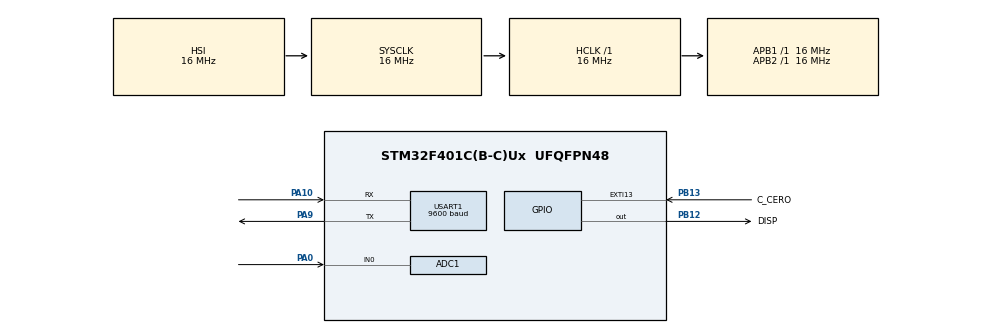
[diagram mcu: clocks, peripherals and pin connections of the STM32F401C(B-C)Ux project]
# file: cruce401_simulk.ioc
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ADC1.Channel-0\#ChannelRegularConversion=ADC_CHANNEL_0
ADC1.NbrOfConversionFlag=1
ADC1.Rank-0\#ChannelRegularConversion=1
ADC1.SamplingTime-0\#ChannelRegularConversion=ADC_SAMPLETIME_3CYCLES
ADC1.master=1
Mcu.Family=STM32F4
Mcu.Name=STM32F401C(B-C)Ux
Mcu.Package=UFQFPN48
NVIC.EXTI15_10_IRQn=true\:0\:0\:false\:false\:true\:true\:true\:true
NVIC.PriorityGroup=NVIC_PRIORITYGROUP_4
NVIC.TIM5_IRQn=true\:0\:0\:false\:false\:true\:true\:true\:true
PA0-WKUP.Signal=ADCx_IN0
PA10.Mode=Asynchronous
PA10.Signal=USART1_RX
PA9.Mode=Asynchronous
PA9.Signal=USART1_TX
PB12.GPIO_Label=DISP
PB12.Signal=GPIO_Output
PB13.GPIO_Label=C_CERO
PB13.Signal=GPXTI13
ProjectManager.HeapSize=0x200
ProjectManager.StackSize=0x400
ProjectManager.TargetToolchain=STM32CubeIDE
RCC.AHBFreq_Value=16000000
RCC.APB1Freq_Value=16000000
RCC.APB2Freq_Value=16000000
RCC.CortexFreq_Value=16000000
RCC.HSE_VALUE=25000000
RCC.HSI_VALUE=16000000
RCC.LSE_VALUE=32768
RCC.SYSCLKFreq_VALUE=16000000
RCC.VCOOutputFreq_Value=192000000
SH.ADCx_IN0.0=ADC1_IN0,IN0
TIM5.Period=10000
TIM5.Prescaler=16-1
USART1.BaudRate=9600
USART1.VirtualMode=VM_ASYNC
VP_TIM5_VS_ClockSourceINT.Mode=Internal
board=custom

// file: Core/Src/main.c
/* USER CODE BEGIN Header */
/**
  ******************************************************************************
  * @file           : main.c
  * @brief          : Main program body
  ******************************************************************************
  * @attention
  *
  * Copyright (c) 2025 STMicroelectronics.
  * All rights reserved.
  *
  * This software is licensed under terms that can be found in the LICENSE file
  * in the root directory of this software component.
  * If no LICENSE file comes with this software, it is provided AS-IS.
  *
  ******************************************************************************
  */
/* USER CODE END Header */
#include "main.h"

/* USER CODE BEGIN Includes */
#include "pinout1.h"
#include "uart.h"
#include "delays.h"
#include "adc.h"
#include "MAP_.h"
#include "CRUCE_CERO.h"

#include "stdio.h"
#include "stdint.h"
#include "string.h"
#include "stdlib.h"
/* USER CODE END Includes */

ADC_HandleTypeDef hadc1;

TIM_HandleTypeDef htim5;

UART_HandleTypeDef huart1;

/* USER CODE BEGIN PV */
char texto[100];
uint16_t codigo;
float tiempo;

/* USER CODE END PV */

void SystemClock_Config(void);
static void MX_GPIO_Init(void);
static void MX_ADC1_Init(void);
static void MX_TIM5_Init(void);
static void MX_USART1_UART_Init(void);

int main(void)
{

  /* MCU Configuration--------------------------------------------------------*/

  /* Reset of all peripherals, Initializes the Flash interface and the Systick. */
  HAL_Init();

  /* Configure the system clock */
  SystemClock_Config();

  /* Initialize all configured peripherals */
  MX_GPIO_Init();
  MX_ADC1_Init();
  MX_TIM5_Init();
  MX_USART1_UART_Init();
  /* USER CODE BEGIN 2 */

  cruce_init();
  /* USER CODE END 2 */

  /* Infinite loop */
  /* USER CODE BEGIN WHILE */
  while (1)
  {

	  codigo=ADC_Read();
	  tiempo=map(codigo,0,4095,LIM_SUP, LIM_INF);
	  	  sprintf(texto,"VALOR=%u\r\n",codigo);
	  uartx_write_text(&huart1, texto);

	  sprintf(texto,"float=%.1f\r\n\r\n\r\n",tiempo);
 	  uartx_write_text(&huart1, texto);

	  Cruce_set(&tiempo);
	  HAL_Delay(500);

    /* USER CODE END WHILE */

  }
}

void SystemClock_Config(void)
{
  RCC_OscInitTypeDef RCC_OscInitStruct = {0};
  RCC_ClkInitTypeDef RCC_ClkInitStruct = {0};

  /** Configure the main internal regulator output voltage
  */
  __HAL_RCC_PWR_CLK_ENABLE();
  __HAL_PWR_VOLTAGESCALING_CONFIG(PWR_REGULATOR_VOLTAGE_SCALE2);

  /** Initializes the RCC Oscillators according to the specified parameters
  * in the RCC_OscInitTypeDef structure.
  */
  RCC_OscInitStruct.OscillatorType = RCC_OSCILLATORTYPE_HSI;
  RCC_OscInitStruct.HSIState = RCC_HSI_ON;
  RCC_OscInitStruct.HSICalibrationValue = RCC_HSICALIBRATION_DEFAULT;
  RCC_OscInitStruct.PLL.PLLState = RCC_PLL_NONE;
  if (HAL_RCC_OscConfig(&RCC_OscInitStruct) != HAL_OK)
  {
    Error_Handler();
  }

  /** Initializes the CPU, AHB and APB buses clocks
  */
  RCC_ClkInitStruct.ClockType = RCC_CLOCKTYPE_HCLK|RCC_CLOCKTYPE_SYSCLK
                              |RCC_CLOCKTYPE_PCLK1|RCC_CLOCKTYPE_PCLK2;
  RCC_ClkInitStruct.SYSCLKSource = RCC_SYSCLKSOURCE_HSI;
  RCC_ClkInitStruct.AHBCLKDivider = RCC_SYSCLK_DIV1;
  RCC_ClkInitStruct.APB1CLKDivider = RCC_HCLK_DIV1;
  RCC_ClkInitStruct.APB2CLKDivider = RCC_HCLK_DIV1;

  if (HAL_RCC_ClockConfig(&RCC_ClkInitStruct, FLASH_LATENCY_0) != HAL_OK)
  {
    Error_Handler();
  }
}

static void MX_ADC1_Init(void)
{

  ADC_ChannelConfTypeDef sConfig = {0};

  /** Configure the global features of the ADC (Clock, Resolution, Data Alignment and number of conversion)
  */
  hadc1.Instance = ADC1;
  hadc1.Init.ClockPrescaler = ADC_CLOCK_SYNC_PCLK_DIV2;
  hadc1.Init.Resolution = ADC_RESOLUTION_12B;
  hadc1.Init.ScanConvMode = DISABLE;
  hadc1.Init.ContinuousConvMode = DISABLE;
  hadc1.Init.DiscontinuousConvMode = DISABLE;
  hadc1.Init.ExternalTrigConvEdge = ADC_EXTERNALTRIGCONVEDGE_NONE;
  hadc1.Init.ExternalTrigConv = ADC_SOFTWARE_START;
  hadc1.Init.DataAlign = ADC_DATAALIGN_RIGHT;
  hadc1.Init.NbrOfConversion = 1;
  hadc1.Init.DMAContinuousRequests = DISABLE;
  hadc1.Init.EOCSelection = ADC_EOC_SINGLE_CONV;
  if (HAL_ADC_Init(&hadc1) != HAL_OK)
  {
    Error_Handler();
  }

  /** Configure for the selected ADC regular channel its corresponding rank in the sequencer and its sample time.
  */
  sConfig.Channel = ADC_CHANNEL_0;
  sConfig.Rank = 1;
  sConfig.SamplingTime = ADC_SAMPLETIME_3CYCLES;
  if (HAL_ADC_ConfigChannel(&hadc1, &sConfig) != HAL_OK)
  {
    Error_Handler();
  }

}

static void MX_TIM5_Init(void)
{

  TIM_ClockConfigTypeDef sClockSourceConfig = {0};
  TIM_MasterConfigTypeDef sMasterConfig = {0};

  htim5.Instance = TIM5;
  htim5.Init.Prescaler = 16-1;
  htim5.Init.CounterMode = TIM_COUNTERMODE_UP;
  htim5.Init.Period = 10000;
  htim5.Init.ClockDivision = TIM_CLOCKDIVISION_DIV1;
  htim5.Init.AutoReloadPreload = TIM_AUTORELOAD_PRELOAD_DISABLE;
  if (HAL_TIM_Base_Init(&htim5) != HAL_OK)
  {
    Error_Handler();
  }
  sClockSourceConfig.ClockSource = TIM_CLOCKSOURCE_INTERNAL;
  if (HAL_TIM_ConfigClockSource(&htim5, &sClockSourceConfig) != HAL_OK)
  {
    Error_Handler();
  }
  sMasterConfig.MasterOutputTrigger = TIM_TRGO_RESET;
  sMasterConfig.MasterSlaveMode = TIM_MASTERSLAVEMODE_DISABLE;
  if (HAL_TIMEx_MasterConfigSynchronization(&htim5, &sMasterConfig) != HAL_OK)
  {
    Error_Handler();
  }

}

static void MX_USART1_UART_Init(void)
{

  huart1.Instance = USART1;
  huart1.Init.BaudRate = 9600;
  huart1.Init.WordLength = UART_WORDLENGTH_8B;
  huart1.Init.StopBits = UART_STOPBITS_1;
  huart1.Init.Parity = UART_PARITY_NONE;
  huart1.Init.Mode = UART_MODE_TX_RX;
  huart1.Init.HwFlowCtl = UART_HWCONTROL_NONE;
  huart1.Init.OverSampling = UART_OVERSAMPLING_16;
  if (HAL_UART_Init(&huart1) != HAL_OK)
  {
    Error_Handler();
  }

}

static void MX_GPIO_Init(void)
{
  GPIO_InitTypeDef GPIO_InitStruct = {0};

  /* GPIO Ports Clock Enable */
  __HAL_RCC_GPIOA_CLK_ENABLE();
  __HAL_RCC_GPIOB_CLK_ENABLE();

  /*Configure GPIO pin Output Level */
  HAL_GPIO_WritePin(DISP_GPIO_Port, DISP_Pin, GPIO_PIN_RESET);

  /*Configure GPIO pin : DISP_Pin */
  GPIO_InitStruct.Pin = DISP_Pin;
  GPIO_InitStruct.Mode = GPIO_MODE_OUTPUT_PP;
  GPIO_InitStruct.Pull = GPIO_NOPULL;
  GPIO_InitStruct.Speed = GPIO_SPEED_FREQ_LOW;
  HAL_GPIO_Init(DISP_GPIO_Port, &GPIO_InitStruct);

  /*Configure GPIO pin : C_CERO_Pin */
  GPIO_InitStruct.Pin = C_CERO_Pin;
  GPIO_InitStruct.Mode = GPIO_MODE_IT_RISING;
  GPIO_InitStruct.Pull = GPIO_NOPULL;
  HAL_GPIO_Init(C_CERO_GPIO_Port, &GPIO_InitStruct);

  /* EXTI interrupt init*/
  HAL_NVIC_SetPriority(EXTI15_10_IRQn, 0, 0);
  HAL_NVIC_EnableIRQ(EXTI15_10_IRQn);

}

void Error_Handler(void)
{
  __disable_irq();
  while (1)
  {
  }
}
